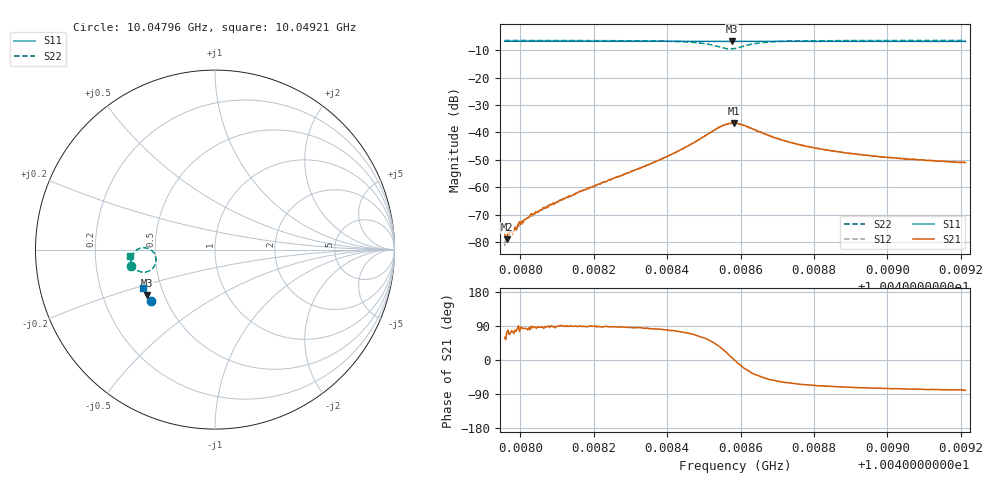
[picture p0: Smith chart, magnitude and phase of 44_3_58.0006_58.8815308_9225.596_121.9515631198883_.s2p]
#  HZ  S  RI  R  50.00
! Rohde & Schwarz Vector Network Analyzer
! Rohde-Schwarz,ZNB20-2Port,1311601062101988,3.16
! Created: UTC 3/21/2024, 12:52:13 AM
! freq[Hz]  re:S11  im:S11  re:S21  im:S21  re:S12  im:S12  re:S22  im:S22
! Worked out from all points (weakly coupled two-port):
!   401 points, 10.04796 GHz to 10.04921 GHz, reference 50 ohm
!   highest |S21| = -36.65 dB at 10.04858 GHz (marker M1); lowest = -79.0 dB at 10.04796 GHz (marker M2)
!   lowest |S11| = -6.8 dB at 10.04858 GHz (marker M3), VSWR 2.68, Z = 20.1 - j12.8 ohm
!   |S11| at or under -10 dB: nowhere
!   |S22| runs from -9.6 to -6.5 dB; largest |S21 - S12| = 0.0012
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1.0047957e10  -0.3589 -0.287  7.14e-05 0.000122  2.45e-05 8.07e-05  -0.4658 -0.0893
1.0047963e10  -0.3593 -0.2866  2.97e-05 0.000109  3.27e-05 0.000116  -0.466 -0.0887
1.0047973e10  -0.3596 -0.2861  5.4e-05 0.000149  6.11e-05 0.000159  -0.466 -0.0879
1.0047985e10  -0.3602 -0.2856  3.49e-05 0.000183  1.25e-05 0.000165  -0.4662 -0.0868
1.0048001e10  -0.3608 -0.2847  1.16e-05 0.00021  1.44e-05 0.000234  -0.4664 -0.0853
1.0048013e10  -0.3611 -0.2838  2.83e-05 0.000257  2.37e-05 0.000256  -0.4665 -0.0842
1.0048045e10  -0.3624 -0.2821  3.65e-05 0.000346  2.32e-05 0.000355  -0.4667 -0.0813
1.0048167e10  -0.3673 -0.2755  2.64e-05 0.000868  -4.88e-05 0.000848  -0.4673 -0.0684
1.0048378e10  -0.3752 -0.2638  0.000471 0.00308  0.000276 0.00315  -0.4611 -0.0339
1.0048444e10  -0.3775 -0.26  0.00149 0.00485  0.00119 0.00496  -0.4491 -0.0138
1.0048522e10  -0.3798 -0.2551  0.00692 0.00774  0.00647 0.0081  -0.3924 0.0105
1.004855e10  -0.3802 -0.2535  0.0116 0.00643  0.0111 0.00702  -0.3504 -0.00738
1.0048575e10  -0.3807 -0.2525  0.0146 0.00183  0.0144 0.00263  -0.3283 -0.0546
1.0048582e10  -0.3809 -0.2525  0.0147 0.000374  0.0147 0.0012  -0.3291 -0.0684
1.0048585e10  -0.381 -0.2522  0.0146 -0.000352  0.0146 0.000562  -0.3306 -0.0751
1.0048619e10  -0.3826 -0.251  0.0113 -0.00584  0.0116 -0.00505  -0.3716 -0.1212
1.0048663e10  -0.3844 -0.2488  0.00654 -0.00684  0.00714 -0.00645  -0.4191 -0.1223
1.0048732e10  -0.3872 -0.2447  0.00327 -0.00579  0.00365 -0.00566  -0.4496 -0.1022
1.0048795e10  -0.3894 -0.2411  0.0021 -0.00486  0.0024 -0.00479  -0.4598 -0.0873
1.0048889e10  -0.3927 -0.2356  0.00131 -0.00398  0.00156 -0.00395  -0.4668 -0.0712
1.0049005e10  -0.3965 -0.2289  0.000873 -0.00337  0.00111 -0.00332  -0.4703 -0.0568
1.0049213e10  -0.4028 -0.2167  0.000501 -0.00276  0.000683 -0.00275  -0.4731 -0.0369
